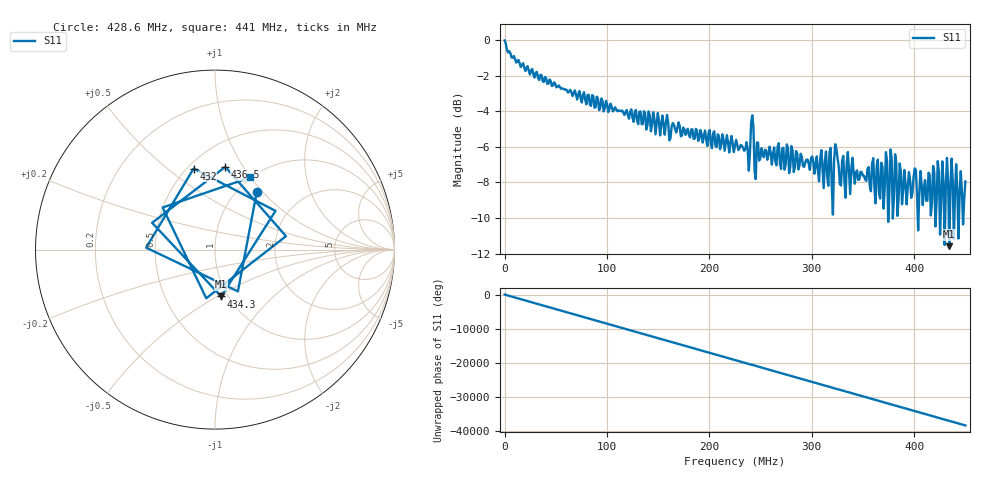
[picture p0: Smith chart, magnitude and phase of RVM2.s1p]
! NanoVNA-App
! Date: 2026-09-29 13:03:37
! Start: 50kHz Stop: 450MHz Points: 401
! S-Parameter data: F S11
# Hz S RI R 50
!  Frequency  S11_Real  S11_Imag
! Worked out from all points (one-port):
!   401 points, 50 kHz to 450 MHz, reference 50 ohm
!   lowest |S11| = -11.6 dB at 434.3 MHz (marker M1), VSWR 1.72, Z = 46.5 - j26.1 ohm
!   |S11| at or under -10 dB: 374.5611 MHz to 374.7867 MHz (225.7 kHz wide, 0.0602 % of centre); 379.1217 MHz to 379.1631 MHz (41.33 kHz wide, 0.0109 % of centre); 403.4798 MHz to 404.2486 MHz (768.7 kHz wide, 0.19 % of centre) (the widest 3 of 10)
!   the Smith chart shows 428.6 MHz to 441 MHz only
!   S11 on the Smith chart (normalised r, x): 428.6 MHz: 1.22, +0.93; 432 MHz: 0.54, +0.62; 434.3 MHz: 0.93, -0.52; 436.5 MHz: 0.71, +0.84; 441 MHz: 0.99, +1.00
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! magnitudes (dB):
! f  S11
! 50 kHz  0.0
! 56.29 MHz  -2.7
! 112.5 MHz  -4.0
! 168.8 MHz  -4.9
! 225 MHz  -5.9
! 237.4 MHz  -6.1
! 241.9 MHz  -4.2
! 246.4 MHz  -5.8
! 281.3 MHz  -6.2
! 313.9 MHz  -6.3
! 316.1 MHz  -8.2
! 318.4 MHz  -6.0
! 324 MHz  -6.1
! 330.8 MHz  -6.5
! 337.5 MHz  -8.7
! 393.8 MHz  -8.2
! 425.3 MHz  -10.9
! 427.5 MHz  -6.8
! 428.6 MHz  -8.0
! 429.8 MHz  -11.5
! 432 MHz  -6.6
! 434.3 MHz  -11.6
! 436.5 MHz  -6.7
! 438.8 MHz  -11.2
! 441 MHz  -7.0
! 443.3 MHz  -11.2
! 445.5 MHz  -7.4
! 450 MHz  -7.9
